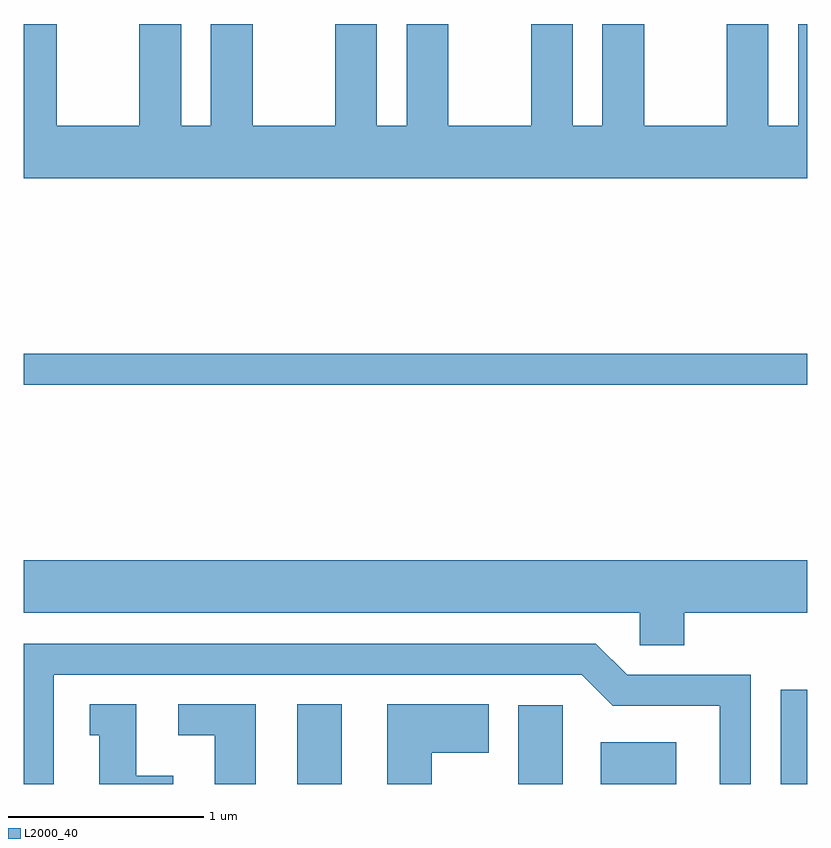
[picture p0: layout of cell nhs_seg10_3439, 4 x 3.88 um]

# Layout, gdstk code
import gdstk
lib = gdstk.Library(unit=1e-6, precision=1e-09)
def R(c, l, rs):  # rectangles x0, y0, x1, y1
    for r in rs: c.add(gdstk.rectangle(r[:2], r[2:], *l))
def P(c, l, *ps):  # polygons
    for p in ps: c.add(gdstk.Polygon(p, *l))
L2000_40 = (2000, 40)

nhs_seg10_3439 = lib.new_cell('nhs_seg10_3439')
R(nhs_seg10_3439, L2000_40, [(287.006,2188.522,287.234,2188.929), (288.136,2188.522,288.364,2188.924), (288.556,2188.522,288.944,2188.734), (289.476,2188.522,289.611,2189.003), (285.611,2190.561,289.611,2190.719)])
P(nhs_seg10_3439, L2000_40, [(289.611,2192.404),(289.566,2192.404),(289.566,2191.884),(289.414,2191.884),(289.414,2192.404),(289.201,2192.404),(289.201,2191.884),(288.779,2191.884),(288.779,2192.404),(288.566,2192.404),(288.566,2191.884),(288.414,2191.884),(288.414,2192.404),(288.201,2192.404),(288.201,2191.884),(287.779,2191.884),(287.779,2192.404),(287.566,2192.404),(287.566,2191.884),(287.414,2191.884),(287.414,2192.404),(287.201,2192.404),(287.201,2191.884),(286.779,2191.884),(286.779,2192.404),(286.566,2192.404),(286.566,2191.884),(286.414,2191.884),(286.414,2192.404),(286.201,2192.404),(286.201,2191.884),(285.779,2191.884),(285.779,2192.404),(285.611,2192.404),(285.611,2191.616),(289.611,2191.616)],
  [(288.984,2189.396),(289.611,2189.396),(289.611,2189.664),(285.611,2189.664),(285.611,2189.396),(288.756,2189.396),(288.756,2189.231),(288.984,2189.231)],
  [(285.764,2189.081),(288.459,2189.081),(288.619,2188.921),(289.166,2188.921),(289.166,2188.522),(289.324,2188.522),(289.324,2189.079),(288.692,2189.079),(288.532,2189.239),(285.611,2189.239),(285.611,2188.522),(285.764,2188.522)],
  [(286.374,2188.564),(286.184,2188.564),(286.184,2188.929),(285.948,2188.929),(285.948,2188.771),(285.996,2188.771),(285.996,2188.522),(286.374,2188.522)],
  [(287.694,2188.681),(287.984,2188.681),(287.984,2188.929),(287.466,2188.929),(287.466,2188.522),(287.694,2188.522)],
  [(286.794,2188.929),(286.398,2188.929),(286.398,2188.771),(286.586,2188.771),(286.586,2188.522),(286.794,2188.522)])

lib.write_gds('nhs_seg10_3439.gds')
